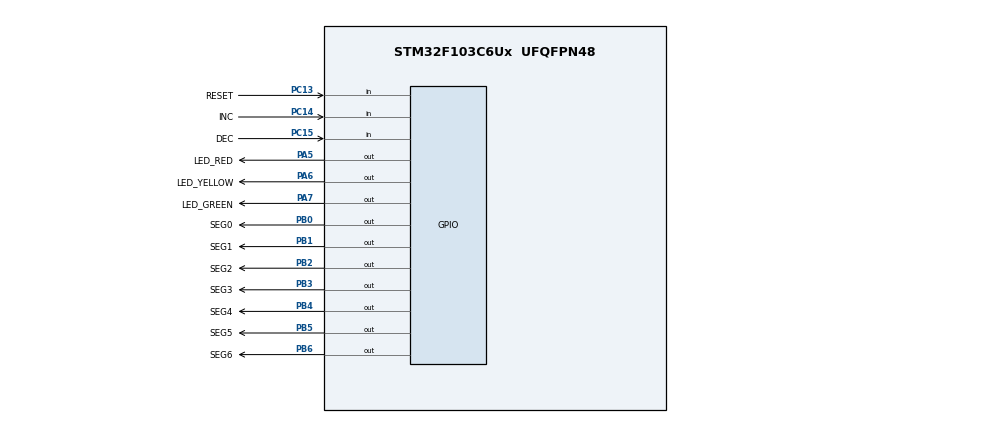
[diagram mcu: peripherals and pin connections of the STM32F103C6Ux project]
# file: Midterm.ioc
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Mcu.Family=STM32F1
Mcu.Name=STM32F103C6Ux
Mcu.Package=UFQFPN48
NVIC.PriorityGroup=NVIC_PRIORITYGROUP_4
NVIC.TIM2_IRQn=true\:0\:0\:false\:false\:true\:true\:true
PA5.GPIO_Label=LED_RED
PA5.Signal=GPIO_Output
PA6.GPIO_Label=LED_YELLOW
PA6.Signal=GPIO_Output
PA7.GPIO_Label=LED_GREEN
PA7.Signal=GPIO_Output
PB0.GPIO_Label=SEG0
PB0.Signal=GPIO_Output
PB1.GPIO_Label=SEG1
PB1.Signal=GPIO_Output
PB2.GPIO_Label=SEG2
PB2.Signal=GPIO_Output
PB3.GPIO_Label=SEG3
PB3.Signal=GPIO_Output
PB4.GPIO_Label=SEG4
PB4.Signal=GPIO_Output
PB5.GPIO_Label=SEG5
PB5.Signal=GPIO_Output
PB6.GPIO_Label=SEG6
PB6.Signal=GPIO_Output
PC13-TAMPER-RTC.GPIO_Label=RESET
PC13-TAMPER-RTC.GPIO_PuPd=GPIO_PULLUP
PC13-TAMPER-RTC.Signal=GPIO_Input
PC14-OSC32_IN.GPIO_Label=INC
PC14-OSC32_IN.GPIO_PuPd=GPIO_PULLUP
PC14-OSC32_IN.Signal=GPIO_Input
PC15-OSC32_OUT.GPIO_Label=DEC
PC15-OSC32_OUT.GPIO_PuPd=GPIO_PULLUP
PC15-OSC32_OUT.Signal=GPIO_Input
ProjectManager.HeapSize=0x200
ProjectManager.StackSize=0x400
ProjectManager.TargetToolchain=STM32CubeIDE
RCC.APB1Freq_Value=8000000
RCC.APB2Freq_Value=8000000
TIM2.Period=9
TIM2.Prescaler=7999
VP_SYS_VS_ND.Mode=No_Debug
VP_TIM2_VS_ClockSourceINT.Mode=Internal
board=custom

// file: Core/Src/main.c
/* USER CODE BEGIN Header */
/**
  ******************************************************************************
  * @file           : main.c
  * @brief          : Main program body
  ******************************************************************************
  * @attention
  *
  * <h2><center>&copy; Copyright (c) 2022 STMicroelectronics.
  * All rights reserved.</center></h2>
  *
  * This software component is licensed by ST under BSD 3-Clause license,
  * the "License"; You may not use this file except in compliance with the
  * License. You may obtain a copy of the License at:
  *                        opensource.org/licenses/BSD-3-Clause
  *
  ******************************************************************************
  */
/* USER CODE END Header */
#include "main.h"

/* USER CODE BEGIN Includes */
#include "software_timer.h"
#include "button.h"
#include "set_led.h"
#include "global.h"
#include "fsm_simple_buttons.h"
/* USER CODE END Includes */

TIM_HandleTypeDef htim2;

void SystemClock_Config(void);
static void MX_GPIO_Init(void);
static void MX_TIM2_Init(void);

int main(void)
{

  /* MCU Configuration--------------------------------------------------------*/

  /* Reset of all peripherals, Initializes the Flash interface and the Systick. */
  HAL_Init();

  /* Configure the system clock */
  SystemClock_Config();

  /* Initialize all configured peripherals */
  MX_GPIO_Init();
  MX_TIM2_Init();
  /* USER CODE BEGIN 2 */
  HAL_TIM_Base_Start_IT(&htim2);
  /* USER CODE END 2 */

  /* Infinite loop */
  /* USER CODE BEGIN WHILE */
 status = 1;
setTimer2(100);
  while (1)
  {

	  if(timer2_flag == 1){
		  HAL_GPIO_TogglePin(LED_RED_GPIO_Port, LED_RED_Pin);
		  setTimer2(100);
	  }
	  fsm_simple_buttons_run();

    /* USER CODE END WHILE */

  }
}

void SystemClock_Config(void)
{
  RCC_OscInitTypeDef RCC_OscInitStruct = {0};
  RCC_ClkInitTypeDef RCC_ClkInitStruct = {0};

  /** Initializes the RCC Oscillators according to the specified parameters
  * in the RCC_OscInitTypeDef structure.
  */
  RCC_OscInitStruct.OscillatorType = RCC_OSCILLATORTYPE_HSI;
  RCC_OscInitStruct.HSIState = RCC_HSI_ON;
  RCC_OscInitStruct.HSICalibrationValue = RCC_HSICALIBRATION_DEFAULT;
  RCC_OscInitStruct.PLL.PLLState = RCC_PLL_NONE;
  if (HAL_RCC_OscConfig(&RCC_OscInitStruct) != HAL_OK)
  {
    Error_Handler();
  }
  /** Initializes the CPU, AHB and APB buses clocks
  */
  RCC_ClkInitStruct.ClockType = RCC_CLOCKTYPE_HCLK|RCC_CLOCKTYPE_SYSCLK
                              |RCC_CLOCKTYPE_PCLK1|RCC_CLOCKTYPE_PCLK2;
  RCC_ClkInitStruct.SYSCLKSource = RCC_SYSCLKSOURCE_HSI;
  RCC_ClkInitStruct.AHBCLKDivider = RCC_SYSCLK_DIV1;
  RCC_ClkInitStruct.APB1CLKDivider = RCC_HCLK_DIV1;
  RCC_ClkInitStruct.APB2CLKDivider = RCC_HCLK_DIV1;

  if (HAL_RCC_ClockConfig(&RCC_ClkInitStruct, FLASH_LATENCY_0) != HAL_OK)
  {
    Error_Handler();
  }
}

static void MX_TIM2_Init(void)
{

  TIM_ClockConfigTypeDef sClockSourceConfig = {0};
  TIM_MasterConfigTypeDef sMasterConfig = {0};

  htim2.Instance = TIM2;
  htim2.Init.Prescaler = 7999;
  htim2.Init.CounterMode = TIM_COUNTERMODE_UP;
  htim2.Init.Period = 9;
  htim2.Init.ClockDivision = TIM_CLOCKDIVISION_DIV1;
  htim2.Init.AutoReloadPreload = TIM_AUTORELOAD_PRELOAD_DISABLE;
  if (HAL_TIM_Base_Init(&htim2) != HAL_OK)
  {
    Error_Handler();
  }
  sClockSourceConfig.ClockSource = TIM_CLOCKSOURCE_INTERNAL;
  if (HAL_TIM_ConfigClockSource(&htim2, &sClockSourceConfig) != HAL_OK)
  {
    Error_Handler();
  }
  sMasterConfig.MasterOutputTrigger = TIM_TRGO_RESET;
  sMasterConfig.MasterSlaveMode = TIM_MASTERSLAVEMODE_DISABLE;
  if (HAL_TIMEx_MasterConfigSynchronization(&htim2, &sMasterConfig) != HAL_OK)
  {
    Error_Handler();
  }

}

static void MX_GPIO_Init(void)
{
  GPIO_InitTypeDef GPIO_InitStruct = {0};

  /* GPIO Ports Clock Enable */
  __HAL_RCC_GPIOC_CLK_ENABLE();
  __HAL_RCC_GPIOA_CLK_ENABLE();
  __HAL_RCC_GPIOB_CLK_ENABLE();

  /*Configure GPIO pin Output Level */
  HAL_GPIO_WritePin(GPIOA, LED_RED_Pin|LED_YELLOW_Pin|LED_GREEN_Pin, GPIO_PIN_RESET);

  /*Configure GPIO pin Output Level */
  HAL_GPIO_WritePin(GPIOB, SEG0_Pin|SEG1_Pin|SEG2_Pin|SEG3_Pin
                          |SEG4_Pin|SEG5_Pin|SEG6_Pin, GPIO_PIN_RESET);

  /*Configure GPIO pins : RESET_Pin INC_Pin DEC_Pin */
  GPIO_InitStruct.Pin = RESET_Pin|INC_Pin|DEC_Pin;
  GPIO_InitStruct.Mode = GPIO_MODE_INPUT;
  GPIO_InitStruct.Pull = GPIO_PULLUP;
  HAL_GPIO_Init(GPIOC, &GPIO_InitStruct);

  /*Configure GPIO pins : LED_RED_Pin LED_YELLOW_Pin LED_GREEN_Pin */
  GPIO_InitStruct.Pin = LED_RED_Pin|LED_YELLOW_Pin|LED_GREEN_Pin;
  GPIO_InitStruct.Mode = GPIO_MODE_OUTPUT_PP;
  GPIO_InitStruct.Pull = GPIO_NOPULL;
  GPIO_InitStruct.Speed = GPIO_SPEED_FREQ_LOW;
  HAL_GPIO_Init(GPIOA, &GPIO_InitStruct);

  /*Configure GPIO pins : SEG0_Pin SEG1_Pin SEG2_Pin SEG3_Pin
                           SEG4_Pin SEG5_Pin SEG6_Pin */
  GPIO_InitStruct.Pin = SEG0_Pin|SEG1_Pin|SEG2_Pin|SEG3_Pin
                          |SEG4_Pin|SEG5_Pin|SEG6_Pin;
  GPIO_InitStruct.Mode = GPIO_MODE_OUTPUT_PP;
  GPIO_InitStruct.Pull = GPIO_NOPULL;
  GPIO_InitStruct.Speed = GPIO_SPEED_FREQ_LOW;
  HAL_GPIO_Init(GPIOB, &GPIO_InitStruct);

}

/* USER CODE BEGIN 4 */
void HAL_TIM_PeriodElapsedCallback(TIM_HandleTypeDef *htim){
	timerRun();
	getKeyInput();
}
/* USER CODE END 4 */

void Error_Handler(void)
{
  __disable_irq();
  while (1)
  {
  }
}

/************************ (C) COPYRIGHT STMicroelectronics *****END OF FILE****/
